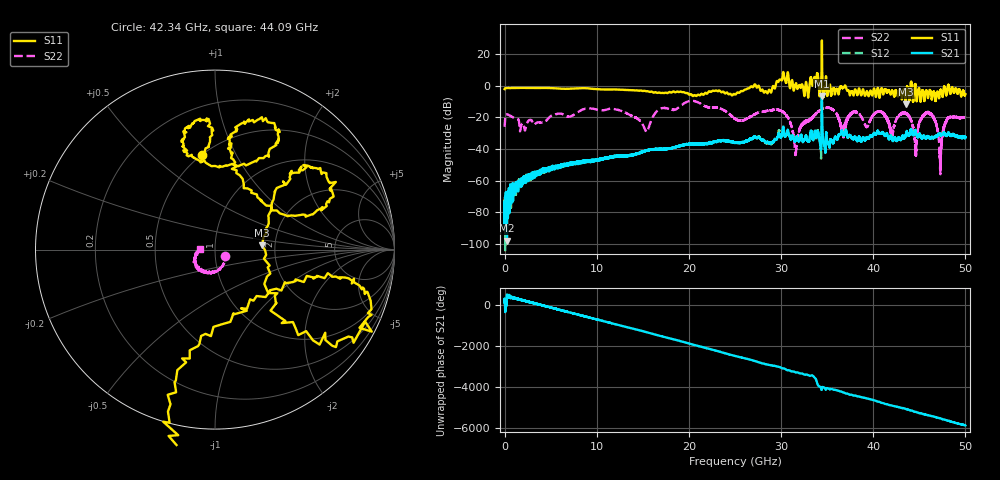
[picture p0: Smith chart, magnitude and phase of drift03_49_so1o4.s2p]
!Created with skrf (http://scikit-rf.org).
# Hz S RI R 50.0
!freq ReS11 ImS11 ReS21 ImS21 ReS12 ImS12 ReS22 ImS22
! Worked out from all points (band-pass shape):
!   10000 points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, 5.3 MHz to 50 GHz, reference 50 ohm
!   highest |S21| = -6.43 dB at 34.43 GHz (marker M1); lowest = -97.9 dB at 260.3 MHz (marker M2)
!   |S21| within 3 dB of the highest: 34.42752 GHz to 34.43553 GHz (8.011 MHz wide, 0.0233 % of centre)
!   lowest |S11| = -11.6 dB at 43.52 GHz (marker M3), VSWR 1.71, Z = 85.3 + j4.4 ohm
!   |S11| at or under -10 dB: 43.49176 GHz to 43.53495 GHz (43.19 MHz wide, 0.0993 % of centre); 43.53557 GHz to 43.54127 GHz (5.694 MHz wide, 0.0131 % of centre); 44.32407 GHz to 44.32679 GHz (2.724 MHz wide, 0.00615 % of centre) (the widest 3 of 4)
!   |S22| runs from -55.9 to -9.4 dB; largest |S21 - S12| = 0.14
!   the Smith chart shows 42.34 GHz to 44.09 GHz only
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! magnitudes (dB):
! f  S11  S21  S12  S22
! 5.3 MHz  -2.1  -77.1  -76.8  -25.9
! 260.3 MHz  -1.4  -97.9  -81.4  -18.1
! 2.575 GHz  -1.4  -58.3  -57.0  -22.2
! 8.34 GHz  -1.5  -47.9  -48.5  -15.3
! 12.44 GHz  -2.4  -45.0  -44.2  -15.4
! 15.39 GHz  -3.4  -41.0  -40.9  -28.9
! 16.67 GHz  -4.4  -39.9  -40.0  -15.3
! 20.47 GHz  -6.5  -37.0  -36.8  -9.5
! 25.01 GHz  -5.5  -35.7  -36.1  -20.9
! 29.95 GHz  3.9  -32.6  -32.1  -15.7
! 31.59 GHz  1.4  -33.8  -33.9  -43.1
! 33.34 GHz  2.6  -30.5  -30.4  -20.2
! 34.43 GHz  28.7  -6.4  -8.5  -14.6
! 36.69 GHz  -1.3  -29.9  -29.9  -28.1
! 37.96 GHz  -3.5  -32.6  -32.4  -16.5
! 41.67 GHz  -3.0  -33.4  -33.2  -23.0
! 43.52 GHz  -11.6  -31.5  -31.5  -17.5
! 44.61 GHz  -1.4  -29.0  -29.2  -40.9
! 46.25 GHz  -4.4  -33.2  -32.9  -17.5
! 47.29 GHz  -2.9  -31.1  -30.7  -54.3
! 48.1 GHz  -0.1  -30.3  -30.2  -20.3
! 50 GHz  -5.3  -32.6  -32.6  -19.7
